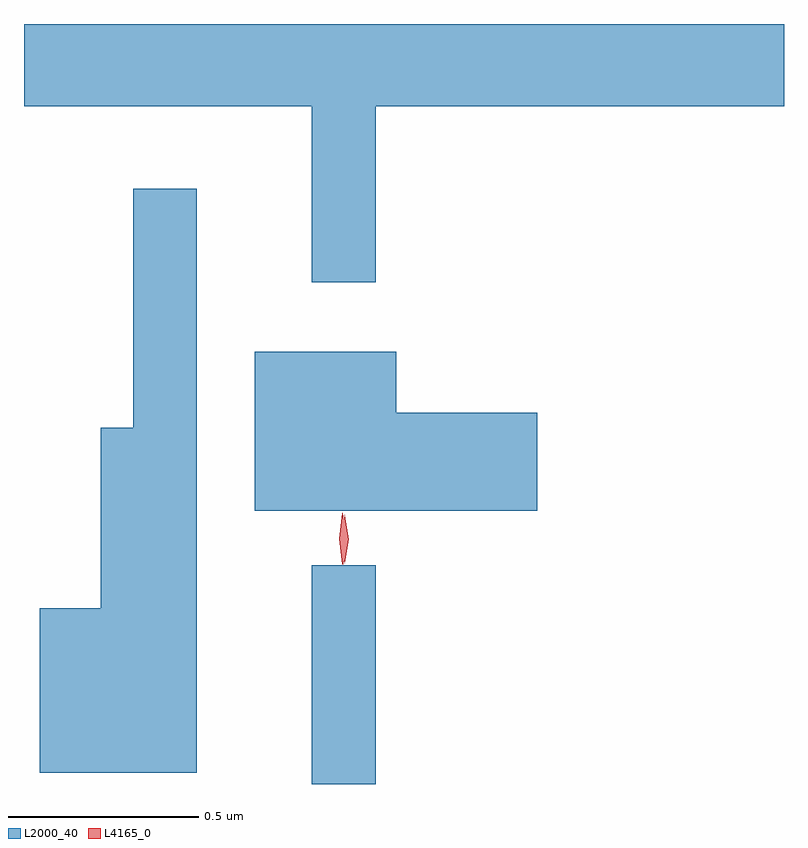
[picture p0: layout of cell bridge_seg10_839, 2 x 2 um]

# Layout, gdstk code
import gdstk
lib = gdstk.Library(unit=1e-6, precision=1e-09)
def R(c, l, rs):  # rectangles x0, y0, x1, y1
    for r in rs: c.add(gdstk.rectangle(r[:2], r[2:], *l))
def P(c, l, *ps):  # polygons
    for p in ps: c.add(gdstk.Polygon(p, *l))
L2000_40 = (2000, 40)
L4165_0 = (4165, 0)

bridge_seg10_839 = lib.new_cell('bridge_seg10_839')
R(bridge_seg10_839, L2000_40, [(610.801,2087.712,610.969,2088.288)])
P(bridge_seg10_839, L2000_40, [(610.969,2089.496),(612.044,2089.496),(612.044,2089.712),(610.044,2089.712),(610.044,2089.496),(610.801,2089.496),(610.801,2089.033),(610.969,2089.033)],
  [(610.499,2089.278),(610.331,2089.278),(610.331,2088.649),(610.246,2088.649),(610.246,2088.174),(610.086,2088.174),(610.086,2087.741),(610.499,2087.741)],
  [(611.394,2088.689),(611.024,2088.689),(611.024,2088.849),(610.651,2088.849),(610.651,2088.431),(611.394,2088.431)])
P(bridge_seg10_839, L4165_0, [(610.888,2088.293),(610.888,2088.294),(610.878,2088.356),(610.888,2088.419),(610.888,2088.42),(610.888,2088.419),(610.898,2088.356),(610.888,2088.294)],
  [(610.882,2088.29),(610.873,2088.358),(610.882,2088.425),(610.882,2088.426),(610.883,2088.425),(610.892,2088.358),(610.884,2088.29),(610.883,2088.29)])

lib.write_gds('bridge_seg10_839.gds')
